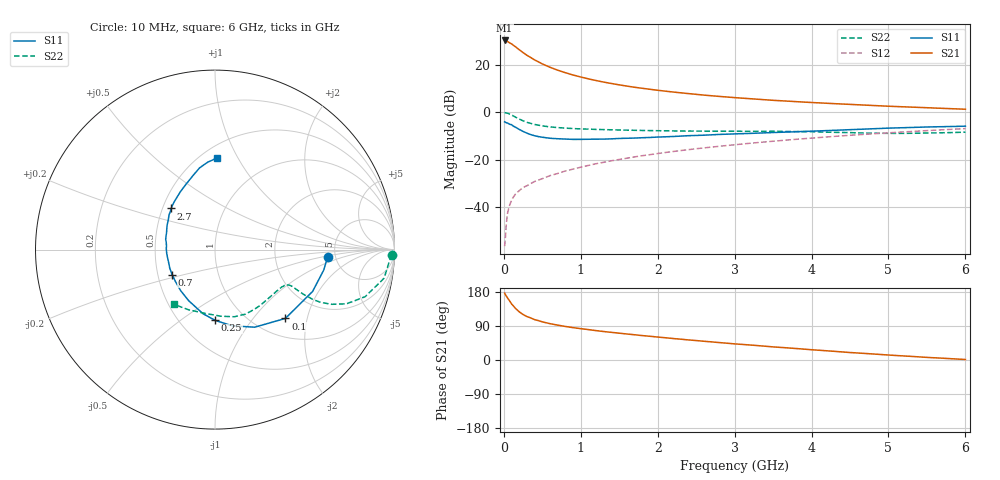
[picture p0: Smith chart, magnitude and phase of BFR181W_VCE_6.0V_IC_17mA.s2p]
! Infineon Technologies  Discrete & RF Semiconductors
! BFR181W
! VCE =  6.0 V,  IC =  17 mA
! Common Emitter S-Parameters:  Jan 2017
# GHz  S  MA  R  50
!  f  S11  S21  S12  S22
! GHz  MAG  ANG  MAG  ANG  MAG  ANG  MAG  ANG
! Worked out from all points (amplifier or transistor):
!   77 points, 10 MHz to 6 GHz, reference 50 ohm
!   highest |S21| = 30.3 dB at 10 MHz (marker M1)
!   |S21| within 3 dB of that: start of sweep to 164.5 MHz
!   unconditionally stable (mu >= 1): 804.7 MHz to 2.647 GHz
!   at 130 MHz: K = 0.37, MSG = 31.8 dB, |S12| = -35.5 dB
!   at 2.2 GHz: K = 1.03, MAG = 11.4 dB, |S12| = -16.6 dB
!   at 6 GHz: K = 0.83, MSG = 4.1 dB, |S12| = -6.9 dB
!   S11 on the Smith chart (normalised r, x): 10 MHz: 4.30, -0.59; 100 MHz: 1.35, -1.48; 250 MHz: 0.73, -0.68; 700 MHz: 0.59, -0.18; 2.7 GHz: 0.56, +0.29; 6 GHz: 0.60, +0.82
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0.01  0.6285 -3.8  32.71 176.6  0.0015 94.0  0.9849 -1.7
0.02  0.6166 -10.6  32.2 172.6  0.0022 93.4  0.9747 -3.6
0.05  0.5917 -23.2  30.97 163.0  0.0077 78.1  0.9553 -9.6
0.1  0.5484 -44.4  27.77 148.0  0.014 73.6  0.877 -17.4
0.15  0.4855 -62.9  24.18 136.4  0.0187 67.8  0.7927 -22.4
0.2  0.436 -77.1  20.84 127.1  0.0222 66.2  0.7185 -25.1
0.25  0.3943 -89.9  18.17 120.0  0.026 64.5  0.6602 -26.5
0.3  0.3631 -100.7  15.91 114.6  0.0282 64.8  0.6138 -27.0
0.4  0.3201 -117.3  12.71 106.5  0.0347 64.8  0.5536 -26.8
0.5  0.2976 -130.3  10.47 100.7  0.0398 66.3  0.5163 -26.3
0.6  0.2832 -141.0  8.904 95.9  0.0461 66.9  0.4918 -25.8
0.7  0.2766 -149.8  7.724 92.0  0.0512 69.5  0.4755 -25.5
0.9  0.2681 -164.4  6.106 85.4  0.0634 70.2  0.4536 -25.8
1.1  0.2698 -175.5  5.066 80.2  0.0758 71.1  0.4408 -26.7
1.3  0.2716 174.9  4.324 75.1  0.0882 71.6  0.4313 -28.3
1.5  0.2806 168.2  3.786 70.8  0.1011 71.5  0.4232 -30.3
2.1  0.3039 150.1  2.789 58.7  0.1417 70.0  0.4063 -39.1
2.7  0.3345 136.7  2.231 47.8  0.1844 67.3  0.3995 -50.0
3.1  0.3539 128.7  1.985 41.1  0.2142 64.9  0.3976 -57.4
4.1  0.405 112.1  1.578 25.7  0.2935 57.7  0.3848 -76.1
5.1  0.4681 99.4  1.322 11.9  0.3766 48.9  0.359 -101.9
6  0.5089 89.0  1.159 1.3  0.4529 40.0  0.3811 -126.8
